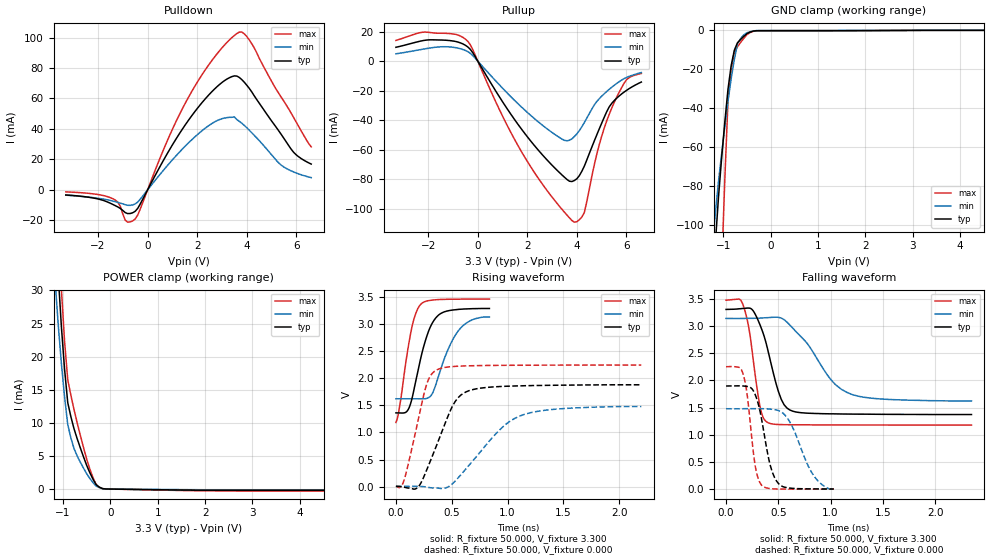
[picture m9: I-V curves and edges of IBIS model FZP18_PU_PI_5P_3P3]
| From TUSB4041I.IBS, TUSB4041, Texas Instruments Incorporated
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|   Model Cell FZP18_PU_PI_5P_3P3
|BC3340DSHYPBFZP18_PU_PI_5P_3P3
[Model]   FZP18_PU_PI_5P_3P3
Model_type   I/O
Polarity   Non-Inverting
Enable   Active-Low
Vinl =  0.8V
Vinh =  2V
Cref =  7pF
Rref =  100.00M
Vref =  0V
Vmeas =  1.65
C_comp   1.726631p   1.655247p   2.290856p
[Model Spec]
Vinl   0.8V   0.8V   0.8V
Vinh   2V   2V   2V
[Temperature Range]   25   125   -40
[Voltage Range]   3.3   3.135   3.465
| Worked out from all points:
|   slope of the pulldown table from 0 to 0.495 V, typ, clamps not added: 32.6 ohm
|   slope of the pullup table from 0 to 0.495 V, typ, clamps not added: 35.4 ohm
|   GND clamp passes 1 mA (typ) near -0.44 V on its own axis
|   POWER clamp passes 1 mA (typ) near -0.33 V on its own axis
|   rising waveform, R_fixture 50.000, V_fixture 3.300: 20-80 % time 142ps typ, 179ps min, 105ps max; typ from 1.36 V to 3.29 V
|   rising waveform, R_fixture 50.000, V_fixture 0.000: 20-80 % time 222ps typ, 390ps min, 147ps max; typ from 0.004 V to 1.88 V
|   falling waveform, R_fixture 50.000, V_fixture 3.300: 20-80 % time 163ps typ, 345ps min, 101ps max; typ from 3.3 V to 1.37 V
|   falling waveform, R_fixture 50.000, V_fixture 0.000: 20-80 % time 117ps typ, 198ps min, 80.1ps max; typ from 1.9 V to 0.008 V
[POWER_clamp]
|   voltage   I(typ)   I(min)   I(max)
-3.3V     369.6mA    284.7mA    471.9mA
-1.167V   41.09mA    31.45mA    51.3mA
-1.1V     32.22mA    24.75mA    39.99mA
-1.033V   24.47mA    18.91mA    30.11mA
-966.7mV  18.08mA    13.91mA    22.28mA
-900mV    13.06mA    9.755mA    16.53mA
-766.7mV  9.1mA      6.117mA    11.98mA
-500mV    3.584mA    2.323mA    4.526mA
-300mV    669.8uA    454.1uA    663.4uA
-233.3mV  297.2uA    212.5uA    281.7uA
1.9V      -169.8uA   -96.12uA   -257.8uA
6.6V      -184.2uA   -100.3uA   -287uA
[Pulldown]
|   voltage   I(typ)   I(min)   I(max)
-3.3V     -3.365mA   -3.488mA   -1.337mA
-1.5V     -8.823mA   -6.978mA   -5.127mA
-1.2V     -11.25mA   -8.255mA   -8.14mA
-900mV    -14.96mA   -9.762mA   -19.97mA
-500mV    -14.05mA   -9.217mA   -19.12mA
1.7V      46.86mA    31.63mA    62.28mA
2.9V      69.15mA    46.14mA    91.29mA
3.7V      73.78mA    44.98mA    103.6mA
4.2V      64.34mA    37.49mA    95.95mA
5.4V      36.15mA    16.09mA    60.58mA
5.9V      24.48mA    11.69mA    47.2mA
6.6V      16.92mA    8.046mA    28.22mA
[Pullup]
|   voltage   I(typ)   I(min)   I(max)
-3.3V     9.309mA    4.903mA    13.95mA
-2.1V     14.15mA    8.36mA     19.61mA
-900mV    13.29mA    9.083mA    18.12mA
-400mV    9.542mA    6.366mA    13.33mA
1.8V      -46.88mA   -31.69mA   -62.38mA
3.4V      -77.19mA   -52.88mA   -100.5mA
3.9V      -80.91mA   -51.11mA   -109.2mA
4.3V      -71.16mA   -41.65mA   -102.6mA
4.9V      -46.04mA   -25.54mA   -56.79mA
5.5V      -26.88mA   -16.5mA    -28.23mA
6V        -19.88mA   -11.14mA   -12.69mA
6.6V      -14.22mA   -7.771mA   -8.395mA
[GND_clamp]
|   voltage   I(typ)   I(min)   I(max)
-3.3V     -996.3mA   -831.9mA   -2.048A
-1.233V   -134.2mA   -111.4mA   -283.3mA
-1.167V   -109.2mA   -93.71mA   -227.5mA
-1.1V     -85.34mA   -77.42mA   -172.4mA
-1.033V   -65.28mA   -63.16mA   -121.7mA
-966.7mV  -46.91mA   -49.48mA   -76.37mA
-900mV    -30.23mA   -36.37mA   -36.29mA
-833.3mV  -18.18mA   -24.84mA   -20.51mA
-766.7mV  -10.24mA   -15.04mA   -11.22mA
-700mV    -6.403mA   -6.978mA   -8.448mA
-500mV    -1.721mA   -1.293mA   -2.228mA
6.6V      0A         0A         0A
[Ramp]
| variable   typ   min   max
dV/dt_f   1.178022/0.1660698n  0.9143006/0.3655049n   1.388552/0.1021699n
dV/dt_r   1.166352/0.2292052n  0.9058277/0.4208237n   1.381682/0.1492375n
R_load = 50
[Rising Waveform]
R_fixture = 50.000
V_fixture = 3.300
V_fixture_min = 3.135
V_fixture_max = 3.465
|  time   V(typ)   V(min)   V(max)
0s        1.362V     1.623V     1.185V
30ps      1.361V     1.623V     1.443V
112.5ps   1.434V     1.623V     2.607V
157.5ps   1.751V     1.622V     3.068V
210ps     2.259V     1.621V     3.337V
318ps     2.993V     1.692V     3.444V
381ps     3.168V     2.038V     3.455V
481.5ps   3.254V     2.602V     3.462V
580.5ps   3.277V     2.933V     3.464V
837ps     3.291V     3.135V     3.465V
[Rising Waveform]
R_fixture = 50.000
V_fixture = 0.000
V_fixture_min = 0.000
V_fixture_max = 0.000
|  time   V(typ)   V(min)   V(max)
0s        3.596mV    4.765mV    8.944mV
75ps      -11.83mV   4.772mV    132.1mV
202.5ps   -715.8uV   4.082mV    1.262V
280.5ps   332.3mV    -10.85mV   1.922V
367.5ps   780.7mV    -27.22mV   2.158V
529.5ps   1.57V      99.92mV    2.221V
655.5ps   1.773V     396.1mV    2.232V
934.5ps   1.849V     1.059V     2.24V
1.11ns    1.861V     1.306V     2.242V
2.197ns   1.881V     1.479V     2.246V
[Falling Waveform]
R_fixture = 50.000
V_fixture = 3.300
V_fixture_min = 3.135
V_fixture_max = 3.465
|  time   V(typ)   V(min)   V(max)
0s        3.3V       3.135V     3.469V
166.5ps   3.318V     3.135V     3.364V
219ps     3.325V     3.136V     2.954V
328.5ps   3V         3.141V     1.489V
405ps     2.513V     3.15V      1.22V
528ps     1.652V     3.142V     1.189V
637.5ps   1.435V     2.958V     1.185V
1.022ns   1.386V     1.971V     1.182V
1.157ns   1.382V     1.778V     1.182V
2.348ns   1.373V     1.623V     1.179V
[Falling Waveform]
R_fixture = 50.000
V_fixture = 0.000
V_fixture_min = 0.000
V_fixture_max = 0.000
|  time   V(typ)   V(min)   V(max)
0s        1.896V     1.479V     2.249V
159ps     1.897V     1.479V     2.14V
204ps     1.887V     1.48V      1.708V
280.5ps   1.73V      1.48V      414.6mV
340.5ps   1.283V     1.48V      76.32mV
424.5ps   430.7mV    1.472V     15.09mV
504ps     102.7mV    1.444V     7.147mV
624ps     21.73mV    1.189V     5.664mV
841.5ps   9.635mV    245.8mV    5.417mV
1.032ns   8.135mV    4.765mV    5.326mV
